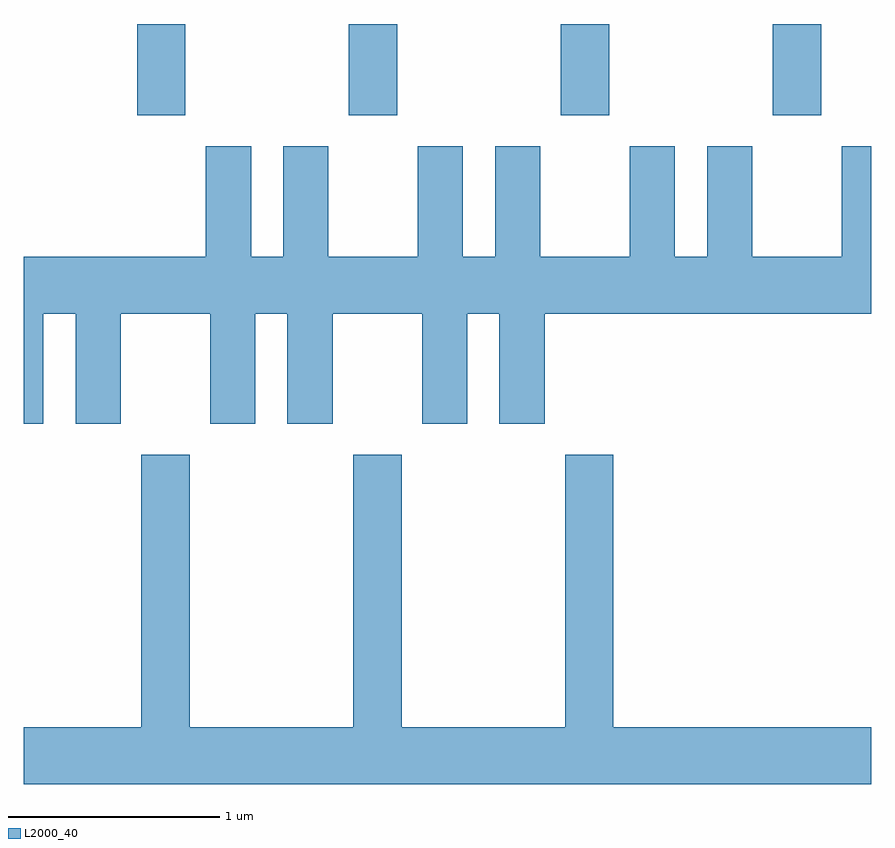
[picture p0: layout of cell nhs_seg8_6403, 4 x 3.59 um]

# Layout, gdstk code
import gdstk
lib = gdstk.Library(unit=1e-6, precision=1e-09)
def R(c, l, rs):  # rectangles x0, y0, x1, y1
    for r in rs: c.add(gdstk.rectangle(r[:2], r[2:], *l))
def A(c, l, x, y, w, h, nx, ny, dx, dy):  # array of equal rectangles
    R(c, l, [(x+i*dx, y+j*dy, x+i*dx+w, y+j*dy+h) for i in range(nx) for j in range(ny)])
def P(c, l, *ps):  # polygons
    for p in ps: c.add(gdstk.Polygon(p, *l))
L2000_40 = (2000, 40)

nhs_seg8_6403 = lib.new_cell('nhs_seg8_6403')
A(nhs_seg8_6403, L2000_40, 376.146, 1943.911, 0.228, 0.431, 4, 1, 1, 0)
P(nhs_seg8_6403, L2000_40, [(375.704,1942.976),(375.856,1942.976),(375.856,1942.456),(376.069,1942.456),(376.069,1942.976),(376.491,1942.976),(376.491,1942.456),(376.704,1942.456),(376.704,1942.976),(376.856,1942.976),(376.856,1942.456),(377.069,1942.456),(377.069,1942.976),(377.491,1942.976),(377.491,1942.456),(377.704,1942.456),(377.704,1942.976),(377.856,1942.976),(377.856,1942.456),(378.069,1942.456),(378.069,1942.976),(379.611,1942.976),(379.611,1943.764),(379.471,1943.764),(379.471,1943.244),(379.049,1943.244),(379.049,1943.764),(378.836,1943.764),(378.836,1943.244),(378.684,1943.244),(378.684,1943.764),(378.471,1943.764),(378.471,1943.244),(378.049,1943.244),(378.049,1943.764),(377.836,1943.764),(377.836,1943.244),(377.684,1943.244),(377.684,1943.764),(377.471,1943.764),(377.471,1943.244),(377.049,1943.244),(377.049,1943.764),(376.836,1943.764),(376.836,1943.244),(376.684,1943.244),(376.684,1943.764),(376.471,1943.764),(376.471,1943.244),(375.611,1943.244),(375.611,1942.456),(375.704,1942.456)],
  [(379.611,1941.024),(378.394,1941.024),(378.394,1942.309),(378.166,1942.309),(378.166,1941.024),(377.394,1941.024),(377.394,1942.309),(377.166,1942.309),(377.166,1941.024),(376.394,1941.024),(376.394,1942.309),(376.166,1942.309),(376.166,1941.024),(375.611,1941.024),(375.611,1940.756),(379.611,1940.756)])

lib.write_gds('nhs_seg8_6403.gds')
